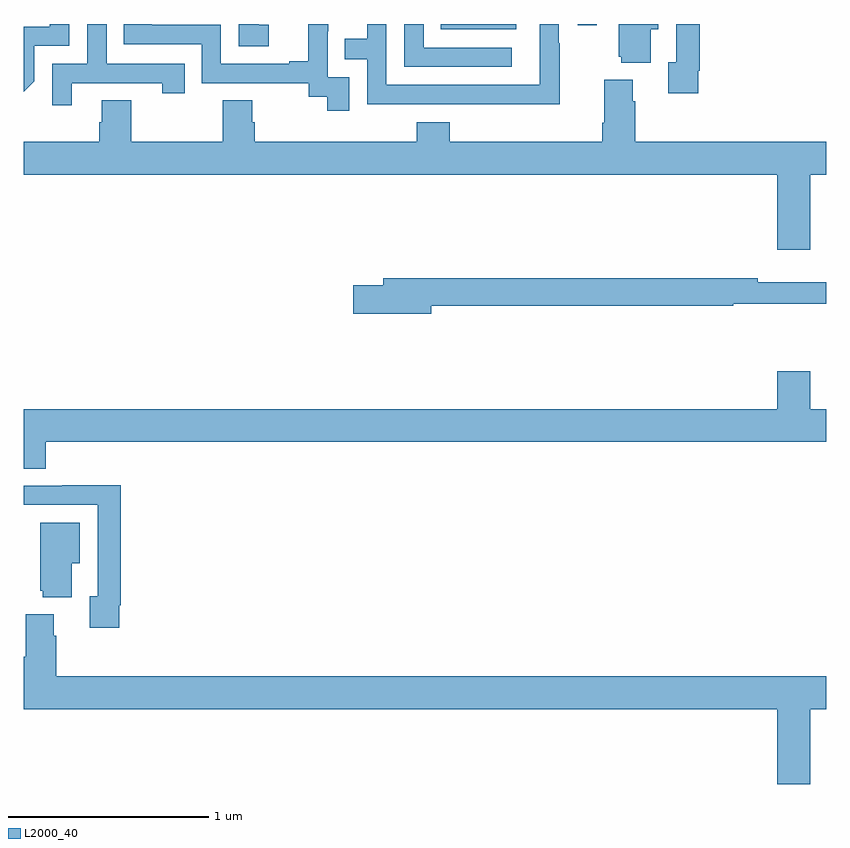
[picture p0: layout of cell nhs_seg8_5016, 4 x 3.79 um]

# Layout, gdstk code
import gdstk
lib = gdstk.Library(unit=1e-6, precision=1e-09)
def R(c, l, rs):  # rectangles x0, y0, x1, y1
    for r in rs: c.add(gdstk.rectangle(r[:2], r[2:], *l))
def P(c, l, *ps):  # polygons
    for p in ps: c.add(gdstk.Polygon(p, *l))
L2000_40 = (2000, 40)

nhs_seg8_5016 = lib.new_cell('nhs_seg8_5016')
R(nhs_seg8_5016, L2000_40, [(415.078,1135.874,415.456,1135.9), (415.761,1135.893,415.857,1135.9)])
P(nhs_seg8_5016, L2000_40, [(416.362,1135.666),(416.369,1135.666),(416.369,1135.9),(416.253,1135.9),(416.253,1135.71),(416.213,1135.71),(416.213,1135.554),(416.362,1135.554)],
  [(413.052,1135.614),(413.052,1135.791),(413.226,1135.791),(413.226,1135.9),(413.129,1135.9),(413.129,1135.887),(413,1135.887),(413,1135.563)],
  [(415.432,1135.782),(414.993,1135.782),(414.993,1135.9),(414.897,1135.9),(414.897,1135.686),(415.432,1135.686)],
  [(415.671,1135.805),(415.668,1135.805),(415.668,1135.9),(415.572,1135.9),(415.572,1135.596),(414.807,1135.596),(414.807,1135.9),(414.711,1135.9),(414.711,1135.826),(414.601,1135.826),(414.601,1135.725),(414.711,1135.725),(414.711,1135.5),(415.207,1135.5),(415.207,1135.499),(415.671,1135.499)],
  [(416.125,1135.874),(416.164,1135.874),(416.164,1135.9),(415.967,1135.9),(415.967,1135.737),(415.979,1135.737),(415.979,1135.706),(416.125,1135.706)],
  [(414.621,1135.635),(414.516,1135.635),(414.516,1135.865),(414.518,1135.865),(414.518,1135.9),(414.419,1135.9),(414.419,1135.714),(414.323,1135.714),(414.323,1135.701),(413.982,1135.701),(413.982,1135.896),(413.637,1135.896),(413.637,1135.9),(413.497,1135.9),(413.497,1135.8),(413.886,1135.8),(413.886,1135.605),(414.42,1135.605),(414.42,1135.537),(414.513,1135.537),(414.513,1135.467),(414.621,1135.467)],
  [(413.239,1135.605),(413.69,1135.605),(413.69,1135.554),(413.801,1135.554),(413.801,1135.701),(413.412,1135.701),(413.412,1135.9),(413.316,1135.9),(413.316,1135.701),(413.142,1135.701),(413.142,1135.494),(413.239,1135.494)],
  [(414.22,1135.897),(414.171,1135.897),(414.171,1135.9),(414.072,1135.9),(414.072,1135.788),(414.22,1135.788)],
  [(416.92,1135.148),(417,1135.148),(417,1135.312),(416.048,1135.312),(416.048,1135.514),(416.035,1135.514),(416.035,1135.621),(415.895,1135.621),(415.895,1135.408),(415.883,1135.408),(415.883,1135.312),(415.124,1135.312),(415.124,1135.411),(414.959,1135.411),(414.959,1135.312),(414.152,1135.312),(414.152,1135.41),(414.139,1135.41),(414.139,1135.52),(413.992,1135.52),(413.992,1135.312),(413.535,1135.312),(413.535,1135.52),(413.387,1135.52),(413.387,1135.41),(413.375,1135.41),(413.375,1135.312),(413,1135.312),(413,1135.148),(416.756,1135.148),(416.756,1134.774),(416.92,1134.774)],
  [(415.03,1134.496),(416.536,1134.496),(416.536,1134.504),(417,1134.504),(417,1134.613),(416.66,1134.613),(416.66,1134.632),(414.791,1134.632),(414.791,1134.596),(414.642,1134.596),(414.642,1134.454),(415.03,1134.454)],
  [(413.108,1133.816),(417,1133.816),(417,1133.98),(416.92,1133.98),(416.92,1134.169),(416.756,1134.169),(416.756,1133.98),(413,1133.98),(413,1133.683),(413.108,1133.683)],
  [(413.476,1133.002),(413.483,1133.002),(413.483,1133.6),(413.191,1133.6),(413.191,1133.598),(413,1133.598),(413,1133.502),(413.367,1133.502),(413.367,1133.046),(413.327,1133.046),(413.327,1132.89),(413.476,1132.89)],
  [(413.239,1133.21),(413.278,1133.21),(413.278,1133.413),(413.081,1133.413),(413.081,1133.073),(413.093,1133.073),(413.093,1133.042),(413.239,1133.042)],
  [(416.92,1132.484),(417,1132.484),(417,1132.648),(413.162,1132.648),(413.162,1132.85),(413.149,1132.85),(413.149,1132.957),(413.009,1132.957),(413.009,1132.744),(413,1132.744),(413,1132.484),(416.756,1132.484),(416.756,1132.11),(416.92,1132.11)])

lib.write_gds('nhs_seg8_5016.gds')
